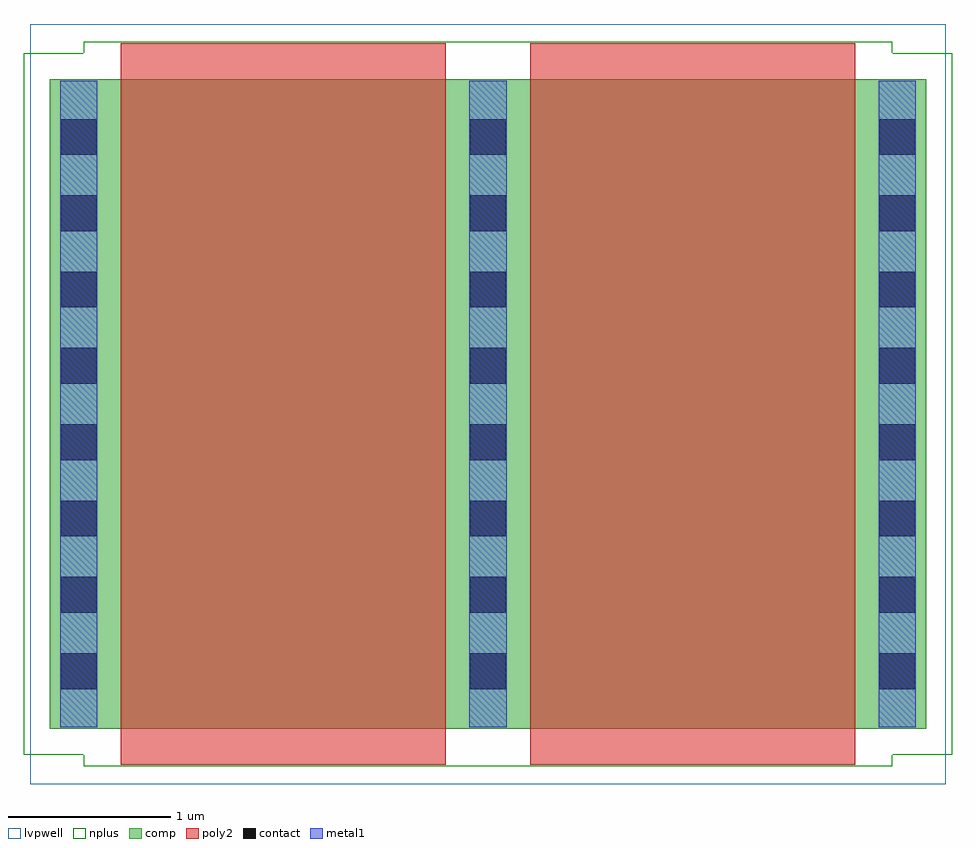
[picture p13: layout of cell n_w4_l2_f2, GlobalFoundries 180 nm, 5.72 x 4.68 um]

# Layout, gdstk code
import gdstk
lib = gdstk.Library(unit=1e-6, precision=1e-09)
def R(c, l, rs):  # rectangles x0, y0, x1, y1
    for r in rs: c.add(gdstk.rectangle(r[:2], r[2:], *l))
def A(c, l, x, y, w, h, nx, ny, dx, dy):  # array of equal rectangles
    R(c, l, [(x+i*dx, y+j*dy, x+i*dx+w, y+j*dy+h) for i in range(nx) for j in range(ny)])
comp = (22, 0)
poly2 = (30, 0)
nplus = (32, 0)
contact = (33, 0)
metal1 = (34, 0)
lvpwell = (204, 0)

n_w4_l2_f2 = lib.new_cell('n_w4_l2_f2')
R(n_w4_l2_f2, comp, [(-2.7,-2,2.7,2)])
R(n_w4_l2_f2, poly2, [(-2.26,-2.22,-0.26,2.22), (0.26,-2.22,2.26,2.22)])
R(n_w4_l2_f2, nplus, [(-2.49,-2.23,2.49,-2.16), (-2.86,-2.16,2.86,2.16), (-2.49,2.16,2.49,2.23)])
A(n_w4_l2_f2, contact, -2.63, -1.755, 0.22, 0.22, 3, 8, 2.52, 0.47)
A(n_w4_l2_f2, metal1, -2.635, -1.99, 0.23, 3.98, 3, 1, 2.52, 0)
R(n_w4_l2_f2, lvpwell, [(-2.82,-2.34,2.82,2.34)])

lib.write_gds('n_w4_l2_f2.gds')
